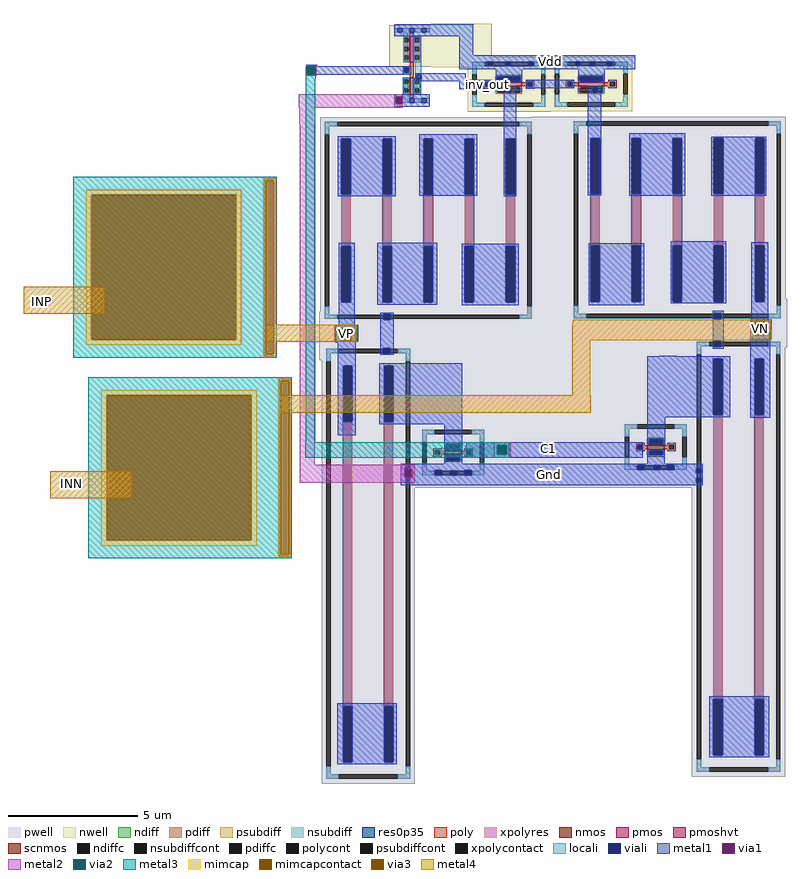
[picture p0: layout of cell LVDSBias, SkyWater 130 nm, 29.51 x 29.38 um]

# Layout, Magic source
magic
tech sky130A
magscale 1 2
<< nwell >>
rect -348 312 118 652
<< pwell >>
rect -1212 -1620 -468 -1576
rect 430 -1620 1100 -68
rect 1660 -1620 2404 -1476
rect -1212 -1852 2404 -1620
rect -1212 -1952 1760 -1852
rect -504 -2936 1760 -1952
<< viali >>
rect 88 324 130 358
rect 226 324 268 358
rect 402 324 444 358
rect 764 324 806 358
rect 878 324 920 358
rect 1008 324 1050 358
rect -558 278 -522 312
rect -460 220 -426 254
rect 164 209 340 243
rect 801 210 977 244
rect 71 165 105 199
rect 399 165 433 199
rect 708 166 742 200
rect 238 120 272 156
rect 902 122 938 158
rect -1042 -670 -972 -238
rect -724 -670 -654 -238
rect -406 -670 -336 -238
rect -88 -670 -18 -238
rect 230 -670 300 -238
rect 884 -666 954 -234
rect 1202 -666 1272 -234
rect 1520 -666 1590 -234
rect 1838 -666 1908 -234
rect 2156 -666 2226 -234
rect -1042 -1502 -972 -1070
rect -724 -1502 -654 -1070
rect -406 -1502 -336 -1070
rect -88 -1502 -18 -1070
rect 230 -1502 300 -1070
rect 884 -1498 954 -1066
rect 1202 -1498 1272 -1066
rect 1520 -1498 1590 -1066
rect 1838 -1498 1908 -1066
rect 2156 -1498 2226 -1066
rect -720 -1638 -662 -1596
rect 1838 -1630 1896 -1588
rect 1836 -1848 1894 -1806
rect -724 -1900 -666 -1858
rect -1030 -2426 -960 -1994
rect -712 -2426 -642 -1994
rect 1834 -2372 1904 -1940
rect 2152 -2372 2222 -1940
rect 1336 -2596 1442 -2562
rect -232 -2638 -126 -2604
rect 1248 -2640 1282 -2606
rect -72 -2682 -38 -2648
rect 1336 -2684 1442 -2650
rect -232 -2726 -126 -2692
rect -548 -2806 -512 -2770
rect 1246 -2800 1304 -2764
rect 1370 -2800 1428 -2764
rect 1474 -2800 1532 -2764
rect -322 -2840 -264 -2804
rect -206 -2842 -148 -2806
rect -94 -2840 -36 -2804
rect 1702 -2824 1738 -2788
rect -546 -2896 -510 -2860
rect 1702 -2898 1738 -2862
rect -1030 -5058 -960 -4626
rect -712 -5058 -642 -4626
rect 1834 -5004 1904 -4572
rect 2152 -5004 2222 -4572
<< metal1 >>
rect -382 552 -22 648
rect -130 408 -22 552
rect -130 358 1228 408
rect -1316 324 -1230 332
rect -1316 272 -1294 324
rect -1240 320 -1230 324
rect -130 324 88 358
rect 130 324 226 358
rect 268 324 402 358
rect 444 324 764 358
rect 806 324 878 358
rect 920 324 1008 358
rect 1050 324 1228 358
rect -1240 312 -502 320
rect -1240 278 -558 312
rect -522 278 -502 312
rect -130 300 1228 324
rect -1240 272 -502 278
rect -1316 256 -502 272
rect -472 254 -80 266
rect -472 220 -460 254
rect -426 220 -80 254
rect -472 216 -80 220
rect 150 243 356 300
rect -472 206 120 216
rect -130 199 120 206
rect 150 209 164 243
rect 340 209 356 243
rect 788 244 992 300
rect 150 200 356 209
rect 386 200 758 216
rect -130 165 71 199
rect 105 165 120 199
rect 386 199 708 200
rect -130 142 120 165
rect 214 156 310 166
rect 214 120 238 156
rect 272 120 310 156
rect 386 165 399 199
rect 433 166 708 199
rect 742 166 758 200
rect 788 210 801 244
rect 977 210 992 244
rect 788 198 992 210
rect 433 165 758 166
rect 386 150 758 165
rect 862 158 968 168
rect -1070 -238 -624 -220
rect -1070 -670 -1042 -238
rect -972 -670 -724 -238
rect -654 -670 -624 -238
rect -1070 -682 -624 -670
rect -442 -238 8 -206
rect -442 -670 -406 -238
rect -336 -670 -88 -238
rect -18 -670 8 -238
rect -442 -678 8 -670
rect 214 -238 310 120
rect 214 -670 230 -238
rect 300 -670 310 -238
rect 214 -684 310 -670
rect 862 122 902 158
rect 938 122 968 158
rect 862 -234 968 122
rect 862 -666 884 -234
rect 954 -666 968 -234
rect 862 -676 968 -666
rect 1184 -234 1614 -198
rect 1184 -666 1202 -234
rect 1272 -666 1520 -234
rect 1590 -666 1614 -234
rect 1184 -678 1614 -666
rect 1818 -234 2244 -224
rect 1818 -666 1838 -234
rect 1908 -666 2156 -234
rect 2226 -666 2244 -234
rect 1818 -680 2244 -666
rect -1064 -1070 -940 -1042
rect -1064 -1502 -1042 -1070
rect -972 -1502 -940 -1070
rect -1064 -1676 -940 -1502
rect -766 -1070 -302 -1042
rect -766 -1502 -724 -1070
rect -654 -1502 -406 -1070
rect -336 -1502 -302 -1070
rect -766 -1522 -302 -1502
rect -112 -1070 330 -1050
rect -112 -1502 -88 -1070
rect -18 -1502 230 -1070
rect 300 -1502 330 -1070
rect -112 -1528 330 -1502
rect 868 -1066 1298 -1046
rect 868 -1498 884 -1066
rect 954 -1498 1202 -1066
rect 1272 -1498 1298 -1066
rect 868 -1526 1298 -1498
rect 1504 -1066 1934 -1030
rect 1504 -1498 1520 -1066
rect 1590 -1498 1838 -1066
rect 1908 -1498 1934 -1066
rect 1504 -1510 1934 -1498
rect 2128 -1066 2256 -1038
rect 2128 -1498 2156 -1066
rect 2226 -1498 2256 -1066
rect -1090 -1696 -940 -1676
rect -1090 -1800 -1044 -1696
rect -966 -1708 -940 -1696
rect -744 -1596 -638 -1586
rect -744 -1638 -720 -1596
rect -662 -1638 -638 -1596
rect -966 -1800 -932 -1708
rect -1090 -1816 -932 -1800
rect -1072 -1994 -932 -1816
rect -744 -1858 -638 -1638
rect -744 -1900 -724 -1858
rect -666 -1900 -638 -1858
rect 1830 -1588 1914 -1568
rect 1830 -1630 1838 -1588
rect 1896 -1630 1914 -1588
rect 1830 -1806 1914 -1630
rect 2128 -1652 2256 -1498
rect 2128 -1734 2156 -1652
rect 1830 -1848 1836 -1806
rect 1894 -1848 1914 -1806
rect 1830 -1862 1914 -1848
rect 2120 -1758 2156 -1734
rect 2236 -1734 2256 -1652
rect 2236 -1758 2272 -1734
rect -744 -1908 -638 -1900
rect 1418 -1920 1550 -1918
rect 1322 -1940 1962 -1920
rect -1072 -2426 -1030 -1994
rect -960 -2426 -932 -1994
rect -1072 -2532 -932 -2426
rect -750 -1994 -108 -1974
rect -750 -2426 -712 -1994
rect -642 -2426 -108 -1994
rect -750 -2446 -108 -2426
rect -248 -2604 -108 -2446
rect 1322 -2372 1834 -1940
rect 1904 -2372 1962 -1940
rect 1322 -2392 1962 -2372
rect 2120 -1940 2272 -1758
rect 2120 -2372 2152 -1940
rect 2222 -2372 2272 -1940
rect 1322 -2562 1462 -2392
rect 2120 -2398 2272 -2372
rect -248 -2638 -232 -2604
rect -126 -2638 -108 -2604
rect -248 -2646 -108 -2638
rect -78 -2606 1288 -2586
rect 1322 -2596 1336 -2562
rect 1442 -2596 1462 -2562
rect 1322 -2606 1462 -2596
rect -78 -2608 1248 -2606
rect -78 -2648 164 -2608
rect -78 -2682 -72 -2648
rect -38 -2680 164 -2648
rect 234 -2640 1248 -2608
rect 1282 -2640 1288 -2606
rect 234 -2680 1288 -2640
rect -38 -2682 1288 -2680
rect -248 -2692 -110 -2684
rect -248 -2726 -232 -2692
rect -126 -2726 -110 -2692
rect -78 -2704 1288 -2682
rect 1324 -2650 1456 -2640
rect 1324 -2684 1336 -2650
rect 1442 -2684 1456 -2650
rect -248 -2752 -110 -2726
rect 1324 -2752 1456 -2684
rect -584 -2764 1750 -2752
rect -584 -2770 1246 -2764
rect -584 -2796 -548 -2770
rect -512 -2796 1246 -2770
rect -584 -2856 -552 -2796
rect -494 -2800 1246 -2796
rect 1304 -2800 1370 -2764
rect 1428 -2800 1474 -2764
rect 1532 -2788 1750 -2764
rect 1532 -2800 1702 -2788
rect -494 -2804 1702 -2800
rect -494 -2840 -322 -2804
rect -264 -2806 -94 -2804
rect -264 -2840 -206 -2806
rect -494 -2842 -206 -2840
rect -148 -2840 -94 -2806
rect -36 -2824 1702 -2804
rect 1738 -2824 1750 -2788
rect -36 -2840 1750 -2824
rect -148 -2842 1750 -2840
rect -494 -2856 1750 -2842
rect -584 -2860 1750 -2856
rect -584 -2896 -546 -2860
rect -510 -2862 1750 -2860
rect -510 -2896 1702 -2862
rect -584 -2898 1702 -2896
rect 1738 -2898 1750 -2862
rect -584 -2918 1750 -2898
rect 1802 -4572 2264 -4550
rect -1076 -4626 -614 -4604
rect -1076 -5058 -1030 -4626
rect -960 -5058 -712 -4626
rect -642 -5058 -614 -4626
rect 1802 -5004 1834 -4572
rect 1904 -5004 2152 -4572
rect 2222 -5004 2264 -4572
rect 1802 -5022 2264 -5004
rect -1076 -5076 -614 -5058
<< via1 >>
rect -1294 272 -1240 324
rect -624 30 -572 84
rect -1044 -1800 -966 -1696
rect 2156 -1758 2236 -1652
rect 164 -2680 234 -2608
rect -552 -2806 -548 -2796
rect -548 -2806 -512 -2796
rect -512 -2806 -494 -2796
rect -552 -2856 -494 -2806
<< metal2 >>
rect -1316 324 -1234 330
rect -1316 320 -1294 324
rect -1318 260 -1306 320
rect -1240 272 -1234 324
rect -1246 260 -1234 272
rect -1318 252 -1234 260
rect -1316 248 -1234 252
rect -1374 84 -568 106
rect -1374 30 -624 84
rect -572 30 -568 84
rect -1374 0 -568 30
rect -1368 -120 -1246 0
rect -1364 -2760 -1248 -120
rect 2118 -1652 2284 -1636
rect -1096 -1680 -918 -1678
rect -1096 -1692 -916 -1680
rect -1096 -1696 -1034 -1692
rect -1096 -1800 -1044 -1696
rect -962 -1794 -916 -1692
rect 2118 -1758 2156 -1652
rect 2236 -1758 2284 -1652
rect 2118 -1792 2284 -1758
rect -966 -1800 -916 -1794
rect -1096 -1804 -916 -1800
rect -1096 -1810 -918 -1804
rect 134 -2608 268 -2586
rect 134 -2680 164 -2608
rect 234 -2680 268 -2608
rect 134 -2706 268 -2680
rect -1364 -2796 -474 -2760
rect -1364 -2856 -552 -2796
rect -494 -2856 -474 -2796
rect -1364 -2898 -474 -2856
rect -1364 -2900 -1248 -2898
<< via2 >>
rect -1306 272 -1294 320
rect -1294 272 -1246 320
rect -1306 260 -1246 272
rect -1034 -1696 -962 -1692
rect -1034 -1794 -966 -1696
rect -966 -1794 -962 -1696
rect 2156 -1758 2236 -1652
rect 164 -2680 234 -2608
<< metal3 >>
rect -1316 320 -1240 326
rect -1316 298 -1306 320
rect -1318 260 -1306 298
rect -1246 260 -1240 320
rect -1318 224 -1240 260
rect -1318 -2586 -1246 224
rect 2132 -1652 2264 -1636
rect -1088 -1692 -914 -1678
rect -1088 -1698 -1034 -1692
rect -1088 -1796 -1040 -1698
rect -962 -1794 -914 -1692
rect -964 -1796 -914 -1794
rect -1088 -1810 -914 -1796
rect 2132 -1758 2152 -1652
rect 2236 -1758 2264 -1652
rect 2132 -1800 2264 -1758
rect -1322 -2608 256 -2586
rect -1322 -2680 164 -2608
rect 234 -2680 256 -2608
rect -1322 -2706 256 -2680
<< via3 >>
rect -1040 -1794 -1034 -1698
rect -1034 -1794 -964 -1698
rect -1040 -1796 -964 -1794
rect 2152 -1758 2156 -1652
rect 2156 -1758 2234 -1652
<< metal4 >>
rect -3498 -1594 -2870 -1384
rect 748 -1652 2278 -1638
rect 748 -1674 2152 -1652
rect -1620 -1698 -922 -1676
rect -1620 -1796 -1040 -1698
rect -964 -1796 -922 -1698
rect -1620 -1810 -922 -1796
rect 742 -1758 2152 -1674
rect 2234 -1758 2278 -1652
rect 742 -1796 2278 -1758
rect 742 -2224 880 -1796
rect -1506 -2358 886 -2224
rect -3292 -3018 -2664 -2808
use sky130_fd_pr__cap_mim_m3_1_MCFBFU  sky130_fd_pr__cap_mim_m3_1_MCFBFU_0
transform 1 0 -2212 0 1 -2784
box -786 -700 786 700
use sky130_fd_pr__cap_mim_m3_1_MCFBFU  sky130_fd_pr__cap_mim_m3_1_MCFBFU_1
transform 1 0 -2330 0 1 -1232
box -786 -700 786 700
use sky130_fd_pr__nfet_01v8_N92D86  sky130_fd_pr__nfet_01v8_N92D86_0
transform 0 1 -179 -1 0 -2665
box -211 -275 211 275
use sky130_fd_pr__res_xhigh_po_0p35_RF56VW  sky130_fd_pr__res_xhigh_po_0p35_RF56VW_0
transform 1 0 -836 0 1 -3526
box -360 -1698 360 1698
use sky130_fd_pr__res_xhigh_po_0p35_YEQXSQ  sky130_fd_pr__res_xhigh_po_0p35_YEQXSQ_0
transform 1 0 -371 0 1 -870
box -837 -798 837 798
use sky130_fd_pr__pfet_01v8_BFRLXZ  sky130_fd_pr__pfet_01v8_BFRLXZ_0
transform 0 1 252 -1 0 182
box -211 -319 211 319
use sky130_fd_sc_hd__inv_1  sky130_fd_sc_hd__inv_1_0
transform 1 0 -634 0 1 56
box -38 -48 314 592
use sky130_fd_pr__nfet_01v8_N92D86  sky130_fd_pr__nfet_01v8_N92D86_1
transform 0 1 1389 -1 0 -2623
box -211 -275 211 275
use sky130_fd_pr__res_xhigh_po_0p35_YEQXSQ  sky130_fd_pr__res_xhigh_po_0p35_YEQXSQ_1
transform 1 0 1555 0 1 -866
box -837 -798 837 798
use sky130_fd_pr__pfet_01v8_BFRLXZ  sky130_fd_pr__pfet_01v8_BFRLXZ_1
transform 0 1 889 -1 0 183
box -211 -319 211 319
use sky130_fd_pr__res_xhigh_po_0p35_RF56VW  sky130_fd_pr__res_xhigh_po_0p35_RF56VW_1
transform 1 0 2028 0 1 -3472
box -360 -1698 360 1698
<< labels >>
rlabel metal1 71 165 105 199 1 inv_out
rlabel metal1 556 342 590 376 1 Vdd
port 1 n
rlabel metal1 -1042 -1798 -962 -1690 1 VP
port 2 n
rlabel metal1 2154 -1760 2234 -1652 1 VN
port 3 n
rlabel metal1 532 -2660 590 -2606 1 C1
port 4 n
rlabel metal1 540 -2860 598 -2806 1 Gnd
port 5 n
rlabel metal4 -3414 -1566 -3306 -1426 1 INP
port 6 n
rlabel metal4 -3180 -2974 -3072 -2834 1 INN
port 7 n
<< end >>

# cell sky130_fd_pr__cap_mim_m3_1_MCFBFU: kit device sky130_fd_pr__cap_mim_m3_1, w 6 l 6 val 40.08 carea 1.00 cperi 0.17 nx 1 ny 1 dummy 0 square 0 lmin 2.00 wmin 2.00 lmax 30.0 wmax 30.0 dc 0 bconnect 1 tconnect 1

# cell sky130_fd_pr__nfet_01v8_N92D86: kit device sky130_fd_pr__nfet_01v8, w 0.650 l 0.15 m 1 nf 1 diffcov 100 polycov 100 guard 1 glc 1 grc 1 gtc 1 gbc 1 tbcov 100 rlcov 100 topc 1 botc 1 poverlap 0 doverlap 1 lmin 0.15 wmin 0.42 compatible {sky130_fd_pr__nfet_01v8 sky130_fd_pr__nfet_01v8_lvt sky130_fd_bs_flash__special_sonosfet_star sky130_fd_pr__nfet_g5v0d10v5 sky130_fd_pr__nfet_05v0_nvt} full_metal 1

# cell sky130_fd_pr__res_xhigh_po_0p35_RF56VW: kit device sky130_fd_pr__res_xhigh_po_0p35, w 0.350 l 11 m 1 nx 2 wmin 0.350 lmin 0.50 rho 2000 val 63.542k dummy 0 dw 0.0 term 120 sterm 0.0 caplen 0 wmax 0.350 guard 1 glc 1 grc 1 gtc 1 gbc 1 compatible {sky130_fd_pr__res_xhigh_po_0p35 sky130_fd_pr__res_xhigh_po_0p69 sky130_fd_pr__res_xhigh_po_1p41 sky130_fd_pr__res_xhigh_po_2p85 sky130_fd_pr__res_xhigh_po_5p73} full_metal 1

# cell sky130_fd_pr__res_xhigh_po_0p35_YEQXSQ: kit device sky130_fd_pr__res_xhigh_po_0p35, w 0.350 l 2 m 1 nx 5 wmin 0.350 lmin 0.50 rho 2000 val 12.114k dummy 0 dw 0.0 term 120 sterm 0.0 caplen 0 wmax 0.350 guard 1 glc 1 grc 1 gtc 1 gbc 1 compatible {sky130_fd_pr__res_xhigh_po_0p35 sky130_fd_pr__res_xhigh_po_0p69 sky130_fd_pr__res_xhigh_po_1p41 sky130_fd_pr__res_xhigh_po_2p85 sky130_fd_pr__res_xhigh_po_5p73} full_metal 1

# cell sky130_fd_pr__pfet_01v8_BFRLXZ: kit device sky130_fd_pr__pfet_01v8, w 1 l 0.15 m 1 nf 1 diffcov 100 polycov 100 guard 1 glc 1 grc 1 gtc 1 gbc 1 tbcov 100 rlcov 100 topc 1 botc 1 poverlap 0 doverlap 1 lmin 0.15 wmin 0.42 compatible {sky130_fd_pr__pfet_01v8 sky130_fd_pr__pfet_01v8_lvt sky130_fd_pr__pfet_01v8_hvt sky130_fd_pr__pfet_g5v0d10v5} full_metal 1

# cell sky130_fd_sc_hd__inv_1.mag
magic
tech sky130A
magscale 1 2
<< nwell >>
rect -38 261 314 582
<< pwell >>
rect 29 -17 63 17
<< scnmos >>
rect 120 47 150 177
<< pmoshvt >>
rect 120 297 150 497
<< ndiff >>
rect 68 165 120 177
rect 68 131 76 165
rect 110 131 120 165
rect 68 97 120 131
rect 68 63 76 97
rect 110 63 120 97
rect 68 47 120 63
rect 150 165 202 177
rect 150 131 160 165
rect 194 131 202 165
rect 150 97 202 131
rect 150 63 160 97
rect 194 63 202 97
rect 150 47 202 63
<< pdiff >>
rect 68 485 120 497
rect 68 451 76 485
rect 110 451 120 485
rect 68 417 120 451
rect 68 383 76 417
rect 110 383 120 417
rect 68 349 120 383
rect 68 315 76 349
rect 110 315 120 349
rect 68 297 120 315
rect 150 485 202 497
rect 150 451 160 485
rect 194 451 202 485
rect 150 417 202 451
rect 150 383 160 417
rect 194 383 202 417
rect 150 349 202 383
rect 150 315 160 349
rect 194 315 202 349
rect 150 297 202 315
<< ndiffc >>
rect 76 131 110 165
rect 76 63 110 97
rect 160 131 194 165
rect 160 63 194 97
<< pdiffc >>
rect 76 451 110 485
rect 76 383 110 417
rect 76 315 110 349
rect 160 451 194 485
rect 160 383 194 417
rect 160 315 194 349
<< poly >>
rect 120 497 150 523
rect 120 265 150 297
rect 64 249 150 265
rect 64 215 80 249
rect 114 215 150 249
rect 64 199 150 215
rect 120 177 150 199
rect 120 21 150 47
<< polycont >>
rect 80 215 114 249
<< locali >>
rect 0 527 29 561
rect 63 527 121 561
rect 155 527 213 561
rect 247 527 276 561
rect 68 485 110 527
rect 68 451 76 485
rect 68 417 110 451
rect 68 383 76 417
rect 68 349 110 383
rect 68 315 76 349
rect 68 299 110 315
rect 144 485 210 493
rect 144 451 160 485
rect 194 451 210 485
rect 144 417 210 451
rect 144 383 160 417
rect 194 383 210 417
rect 144 349 210 383
rect 144 315 160 349
rect 194 315 210 349
rect 144 297 210 315
rect 64 249 130 263
rect 64 215 80 249
rect 114 215 130 249
rect 64 165 110 181
rect 164 177 210 297
rect 64 131 76 165
rect 64 97 110 131
rect 64 63 76 97
rect 64 17 110 63
rect 144 165 210 177
rect 144 131 160 165
rect 194 131 210 165
rect 144 97 210 131
rect 144 63 160 97
rect 194 63 210 97
rect 144 51 210 63
rect 0 -17 29 17
rect 63 -17 121 17
rect 155 -17 213 17
rect 247 -17 276 17
<< viali >>
rect 29 527 63 561
rect 121 527 155 561
rect 213 527 247 561
rect 29 -17 63 17
rect 121 -17 155 17
rect 213 -17 247 17
<< metal1 >>
rect 0 561 276 592
rect 0 527 29 561
rect 63 527 121 561
rect 155 527 213 561
rect 247 527 276 561
rect 0 496 276 527
rect 0 17 276 48
rect 0 -17 29 17
rect 63 -17 121 17
rect 155 -17 213 17
rect 247 -17 276 17
rect 0 -48 276 -17
<< labels >>
flabel corelocali s 164 289 198 323 0 FreeSans 340 0 0 0 Y
port 6 nsew
flabel corelocali s 164 221 198 255 0 FreeSans 340 0 0 0 Y
port 6 nsew
flabel corelocali s 72 221 106 255 0 FreeSans 340 0 0 0 A
port 1 nsew
flabel nbase s 29 527 63 561 0 FreeSans 200 0 0 0 VPB
port 4 nsew
flabel pwell s 29 -17 63 17 0 FreeSans 200 0 0 0 VNB
port 3 nsew
flabel metal1 s 29 -17 63 17 0 FreeSans 200 0 0 0 VGND
port 2 nsew
flabel metal1 s 29 527 63 561 0 FreeSans 200 0 0 0 VPWR
port 5 nsew
rlabel comment s 0 0 0 0 4 inv_1
<< properties >>
string FIXED_BBOX 0 0 276 544
string GDS_FILE /home/merlproj/backend-tools/pdks/open_pdks_updated/sky130/sky130A/libs.ref/sky130_fd_sc_hd/gds/sky130_fd_sc_hd.gds
string GDS_START 2108072
string GDS_END 2111566
string path 0.000 0.000 6.900 0.000 
<< end >>
